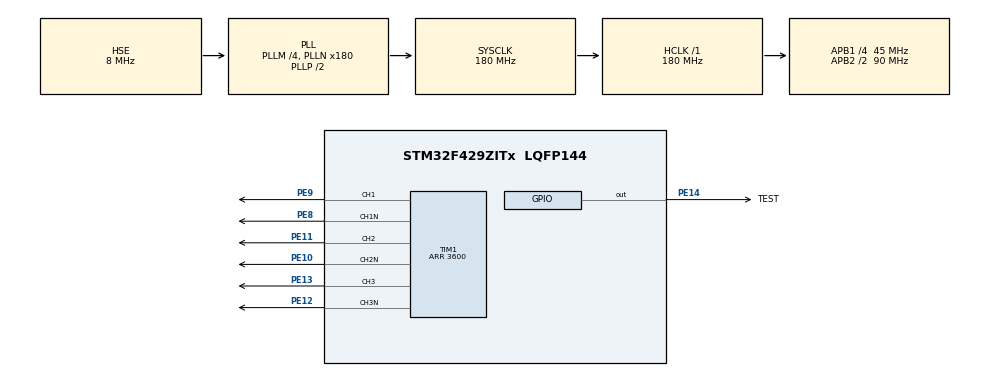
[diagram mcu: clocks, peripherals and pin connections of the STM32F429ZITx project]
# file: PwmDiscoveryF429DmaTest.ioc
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Dma.Request0=TIM1_UP
Dma.TIM1_UP.0.Direction=DMA_MEMORY_TO_PERIPH
Dma.TIM1_UP.0.FIFOMode=DMA_FIFOMODE_DISABLE
Dma.TIM1_UP.0.Instance=DMA2_Stream5
Dma.TIM1_UP.0.MemDataAlignment=DMA_MDATAALIGN_HALFWORD
Dma.TIM1_UP.0.MemInc=DMA_MINC_ENABLE
Dma.TIM1_UP.0.Mode=DMA_CIRCULAR
Dma.TIM1_UP.0.PeriphDataAlignment=DMA_PDATAALIGN_HALFWORD
Dma.TIM1_UP.0.PeriphInc=DMA_PINC_DISABLE
Dma.TIM1_UP.0.Priority=DMA_PRIORITY_LOW
Mcu.Family=STM32F4
Mcu.Name=STM32F429ZITx
Mcu.Package=LQFP144
NVIC.DMA2_Stream5_IRQn=true\:0\:0\:false\:false\:true\:false
NVIC.PriorityGroup=NVIC_PRIORITYGROUP_4
NVIC.TIM1_UP_TIM10_IRQn=true\:0\:0\:false\:false\:true\:true
PA13.Mode=Trace_Asynchronous_SW
PA13.Signal=SYS_JTMS-SWDIO
PA14.Mode=Trace_Asynchronous_SW
PA14.Signal=SYS_JTCK-SWCLK
PB3.Mode=Trace_Asynchronous_SW
PB3.Signal=SYS_JTDO-SWO
PE10.Mode=PWM Generation2 CH2 CH2N
PE10.Signal=TIM1_CH2N
PE11.Signal=S_TIM1_CH2
PE12.Mode=PWM Generation3 CH3 CH3N
PE12.Signal=TIM1_CH3N
PE13.Signal=S_TIM1_CH3
PE14.GPIO_Label=TEST
PE14.Signal=GPIO_Output
PE8.Mode=PWM Generation1 CH1 CH1N
PE8.Signal=TIM1_CH1N
PE9.Signal=S_TIM1_CH1
PH0/OSC_IN.Mode=HSE-External-Oscillator
PH0/OSC_IN.Signal=RCC_OSC_IN
PH1/OSC_OUT.Mode=HSE-External-Oscillator
PH1/OSC_OUT.Signal=RCC_OSC_OUT
ProjectManager.HeapSize=0x200
ProjectManager.StackSize=0x400
ProjectManager.TargetToolchain=SW4STM32
RCC.48MHZClocksFreq_Value=90000000
RCC.AHBFreq_Value=180000000
RCC.APB1CLKDivider=RCC_HCLK_DIV4
RCC.APB1Freq_Value=45000000
RCC.APB1TimFreq_Value=90000000
RCC.APB2CLKDivider=RCC_HCLK_DIV2
RCC.APB2Freq_Value=90000000
RCC.APB2TimFreq_Value=180000000
RCC.CortexFreq_Value=180000000
RCC.EnbaleCSS=true
RCC.HCLKFreq_Value=180000000
RCC.HSE_VALUE=8000000
RCC.HSI_VALUE=16000000
RCC.LSE_VALUE=32768
RCC.PLLM=4
RCC.PLLN=180
RCC.PLLSourceVirtual=RCC_PLLSOURCE_HSE
RCC.SYSCLKFreq_VALUE=180000000
RCC.SYSCLKSource=RCC_SYSCLKSOURCE_PLLCLK
RCC.VCOOutputFreq_Value=360000000
SH.S_TIM1_CH1.0=TIM1_CH1,PWM Generation1 CH1 CH1N
SH.S_TIM1_CH2.0=TIM1_CH2,PWM Generation2 CH2 CH2N
SH.S_TIM1_CH3.0=TIM1_CH3,PWM Generation3 CH3 CH3N
TIM1.Channel-PWM\ Generation1\ CH1\ CH1N=TIM_CHANNEL_1
TIM1.Channel-PWM\ Generation2\ CH2\ CH2N=TIM_CHANNEL_2
TIM1.Channel-PWM\ Generation3\ CH3\ CH3N=TIM_CHANNEL_3
TIM1.CounterMode=TIM_COUNTERMODE_CENTERALIGNED3
TIM1.DeadTime=100
TIM1.OCFastMode_PWM-PWM\ Generation1\ CH1\ CH1N=TIM_OCFAST_DISABLE
TIM1.OCFastMode_PWM-PWM\ Generation2\ CH2\ CH2N=TIM_OCFAST_DISABLE
TIM1.OCFastMode_PWM-PWM\ Generation3\ CH3\ CH3N=TIM_OCFAST_DISABLE
TIM1.OCMode_PWM-PWM\ Generation1\ CH1\ CH1N=TIM_OCMODE_PWM2
TIM1.OCMode_PWM-PWM\ Generation2\ CH2\ CH2N=TIM_OCMODE_PWM2
TIM1.OCMode_PWM-PWM\ Generation3\ CH3\ CH3N=TIM_OCMODE_PWM2
TIM1.Period=3600
TIM1.Pulse-PWM\ Generation1\ CH1\ CH1N=250
TIM1.Pulse-PWM\ Generation2\ CH2\ CH2N=500
TIM1.Pulse-PWM\ Generation3\ CH3\ CH3N=750
TIM1.TIM_MasterOutputTrigger=TIM_TRGO_UPDATE
TIM2.Period=1
TIM2.Prescaler=45
TIM2.TIM_MasterOutputTrigger=TIM_TRGO_UPDATE
TIM2.TIM_MasterSlaveMode=TIM_MASTERSLAVEMODE_ENABLE
VP_TIM1_VS_ClockSourceITR.Mode=TriggerSource_ITR1
VP_TIM1_VS_ControllerModeClock.Mode=Clock Mode
VP_TIM2_VS_ClockSourceINT.Mode=Internal
board=custom

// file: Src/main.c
/**
  ******************************************************************************
  * @file           : main.c
  * @brief          : Main program body
  ******************************************************************************
  ** This notice applies to any and all portions of this file
  * that are not between comment pairs USER CODE BEGIN and
  * USER CODE END. Other portions of this file, whether
  * inserted by the user or by software development tools
  * are owned by their respective copyright owners.
  *
  * COPYRIGHT(c) 2018 STMicroelectronics
  *
  * Redistribution and use in source and binary forms, with or without modification,
  * are permitted provided that the following conditions are met:
  *   1. Redistributions of source code must retain the above copyright notice,
  *      this list of conditions and the following disclaimer.
  *   2. Redistributions in binary form must reproduce the above copyright notice,
  *      this list of conditions and the following disclaimer in the documentation
  *      and/or other materials provided with the distribution.
  *   3. Neither the name of STMicroelectronics nor the names of its contributors
  *      may be used to endorse or promote products derived from this software
  *      without specific prior written permission.
  *
  * THIS SOFTWARE IS PROVIDED BY THE COPYRIGHT HOLDERS AND CONTRIBUTORS "AS IS"
  * AND ANY EXPRESS OR IMPLIED WARRANTIES, INCLUDING, BUT NOT LIMITED TO, THE
  * IMPLIED WARRANTIES OF MERCHANTABILITY AND FITNESS FOR A PARTICULAR PURPOSE ARE
  * DISCLAIMED. IN NO EVENT SHALL THE COPYRIGHT HOLDER OR CONTRIBUTORS BE LIABLE
  * FOR ANY DIRECT, INDIRECT, INCIDENTAL, SPECIAL, EXEMPLARY, OR CONSEQUENTIAL
  * DAMAGES (INCLUDING, BUT NOT LIMITED TO, PROCUREMENT OF SUBSTITUTE GOODS OR
  * SERVICES; LOSS OF USE, DATA, OR PROFITS; OR BUSINESS INTERRUPTION) HOWEVER
  * CAUSED AND ON ANY THEORY OF LIABILITY, WHETHER IN CONTRACT, STRICT LIABILITY,
  * OR TORT (INCLUDING NEGLIGENCE OR OTHERWISE) ARISING IN ANY WAY OUT OF THE USE
  * OF THIS SOFTWARE, EVEN IF ADVISED OF THE POSSIBILITY OF SUCH DAMAGE.
  *
  ******************************************************************************
  */
#include "main.h"
#include "stm32f4xx_hal.h"

TIM_HandleTypeDef htim1;
TIM_HandleTypeDef htim2;
DMA_HandleTypeDef hdma_tim1_up;

/* USER CODE BEGIN PV */
/* Private variables ---------------------------------------------------------*/
uint16_t SPWM[56];
uint16_t spwmPointer[3];
/* USER CODE END PV */

void SystemClock_Config(void);
static void MX_GPIO_Init(void);
static void MX_DMA_Init(void);
static void MX_TIM1_Init(void);
static void MX_TIM2_Init(void);
void HAL_TIM_MspPostInit(TIM_HandleTypeDef *htim);

/* USER CODE BEGIN PFP */
/* Private function prototypes -----------------------------------------------*/
void init_pwm_table(void);

/* USER CODE END PFP */

int main(void)
{

  /* MCU Configuration----------------------------------------------------------*/

  /* Reset of all peripherals, Initializes the Flash interface and the Systick. */
  HAL_Init();

  /* Configure the system clock */
  SystemClock_Config();

  /* Initialize all configured peripherals */
  MX_GPIO_Init();
  MX_DMA_Init();
  MX_TIM1_Init();
  MX_TIM2_Init();
  /* USER CODE BEGIN 2 */

  HAL_TIM_Base_Start(&htim2);
  HAL_TIM_PWM_Start(&htim1,TIM_CHANNEL_1);
  HAL_TIM_PWM_Start(&htim1,TIM_CHANNEL_2);
  HAL_TIM_PWM_Start(&htim1,TIM_CHANNEL_3);
  HAL_TIMEx_PWMN_Start(&htim1,TIM_CHANNEL_1);
  HAL_TIMEx_PWMN_Start(&htim1,TIM_CHANNEL_2);
  HAL_TIMEx_PWMN_Start(&htim1,TIM_CHANNEL_3);

  init_pwm_table();
  HAL_TIM_DMABurst_WriteStart(&htim1,TIM_DMABASE_CCR1,TIM_DMA_UPDATE,(uint32_t*)spwmPointer,TIM_DMABURSTLENGTH_3TRANSFERS);
  /* USER CODE END 2 */

  /* Infinite loop */
  while (1)
  {

  }

}

void SystemClock_Config(void)
{

  RCC_OscInitTypeDef RCC_OscInitStruct;
  RCC_ClkInitTypeDef RCC_ClkInitStruct;

    /**Configure the main internal regulator output voltage
    */
  __HAL_RCC_PWR_CLK_ENABLE();

  __HAL_PWR_VOLTAGESCALING_CONFIG(PWR_REGULATOR_VOLTAGE_SCALE1);

    /**Initializes the CPU, AHB and APB busses clocks
    */
  RCC_OscInitStruct.OscillatorType = RCC_OSCILLATORTYPE_HSE;
  RCC_OscInitStruct.HSEState = RCC_HSE_ON;
  RCC_OscInitStruct.PLL.PLLState = RCC_PLL_ON;
  RCC_OscInitStruct.PLL.PLLSource = RCC_PLLSOURCE_HSE;
  RCC_OscInitStruct.PLL.PLLM = 4;
  RCC_OscInitStruct.PLL.PLLN = 180;
  RCC_OscInitStruct.PLL.PLLP = RCC_PLLP_DIV2;
  RCC_OscInitStruct.PLL.PLLQ = 4;
  if (HAL_RCC_OscConfig(&RCC_OscInitStruct) != HAL_OK)
  {
    _Error_Handler(__FILE__, __LINE__);
  }

    /**Activate the Over-Drive mode
    */
  if (HAL_PWREx_EnableOverDrive() != HAL_OK)
  {
    _Error_Handler(__FILE__, __LINE__);
  }

    /**Initializes the CPU, AHB and APB busses clocks
    */
  RCC_ClkInitStruct.ClockType = RCC_CLOCKTYPE_HCLK|RCC_CLOCKTYPE_SYSCLK
                              |RCC_CLOCKTYPE_PCLK1|RCC_CLOCKTYPE_PCLK2;
  RCC_ClkInitStruct.SYSCLKSource = RCC_SYSCLKSOURCE_PLLCLK;
  RCC_ClkInitStruct.AHBCLKDivider = RCC_SYSCLK_DIV1;
  RCC_ClkInitStruct.APB1CLKDivider = RCC_HCLK_DIV4;
  RCC_ClkInitStruct.APB2CLKDivider = RCC_HCLK_DIV2;

  if (HAL_RCC_ClockConfig(&RCC_ClkInitStruct, FLASH_LATENCY_5) != HAL_OK)
  {
    _Error_Handler(__FILE__, __LINE__);
  }

    /**Enables the Clock Security System
    */
  HAL_RCC_EnableCSS();

    /**Configure the Systick interrupt time
    */
  HAL_SYSTICK_Config(HAL_RCC_GetHCLKFreq()/1000);

    /**Configure the Systick
    */
  HAL_SYSTICK_CLKSourceConfig(SYSTICK_CLKSOURCE_HCLK);

  /* SysTick_IRQn interrupt configuration */
  HAL_NVIC_SetPriority(SysTick_IRQn, 0, 0);
}

/* TIM1 init function */
static void MX_TIM1_Init(void)
{

  TIM_SlaveConfigTypeDef sSlaveConfig;
  TIM_MasterConfigTypeDef sMasterConfig;
  TIM_OC_InitTypeDef sConfigOC;
  TIM_BreakDeadTimeConfigTypeDef sBreakDeadTimeConfig;

  htim1.Instance = TIM1;
  htim1.Init.Prescaler = 0;
  htim1.Init.CounterMode = TIM_COUNTERMODE_CENTERALIGNED3;
  htim1.Init.Period = 3600;
  htim1.Init.ClockDivision = TIM_CLOCKDIVISION_DIV1;
  htim1.Init.RepetitionCounter = 0;
  if (HAL_TIM_Base_Init(&htim1) != HAL_OK)
  {
    _Error_Handler(__FILE__, __LINE__);
  }

  if (HAL_TIM_PWM_Init(&htim1) != HAL_OK)
  {
    _Error_Handler(__FILE__, __LINE__);
  }

  sSlaveConfig.SlaveMode = TIM_SLAVEMODE_EXTERNAL1;
  sSlaveConfig.InputTrigger = TIM_TS_ITR1;
  if (HAL_TIM_SlaveConfigSynchronization(&htim1, &sSlaveConfig) != HAL_OK)
  {
    _Error_Handler(__FILE__, __LINE__);
  }

  sMasterConfig.MasterOutputTrigger = TIM_TRGO_UPDATE;
  sMasterConfig.MasterSlaveMode = TIM_MASTERSLAVEMODE_DISABLE;
  if (HAL_TIMEx_MasterConfigSynchronization(&htim1, &sMasterConfig) != HAL_OK)
  {
    _Error_Handler(__FILE__, __LINE__);
  }

  sConfigOC.OCMode = TIM_OCMODE_PWM2;
  sConfigOC.Pulse = 250;
  sConfigOC.OCPolarity = TIM_OCPOLARITY_HIGH;
  sConfigOC.OCNPolarity = TIM_OCNPOLARITY_HIGH;
  sConfigOC.OCFastMode = TIM_OCFAST_DISABLE;
  sConfigOC.OCIdleState = TIM_OCIDLESTATE_RESET;
  sConfigOC.OCNIdleState = TIM_OCNIDLESTATE_RESET;
  if (HAL_TIM_PWM_ConfigChannel(&htim1, &sConfigOC, TIM_CHANNEL_1) != HAL_OK)
  {
    _Error_Handler(__FILE__, __LINE__);
  }

  sConfigOC.Pulse = 500;
  if (HAL_TIM_PWM_ConfigChannel(&htim1, &sConfigOC, TIM_CHANNEL_2) != HAL_OK)
  {
    _Error_Handler(__FILE__, __LINE__);
  }

  sConfigOC.Pulse = 750;
  if (HAL_TIM_PWM_ConfigChannel(&htim1, &sConfigOC, TIM_CHANNEL_3) != HAL_OK)
  {
    _Error_Handler(__FILE__, __LINE__);
  }

  sBreakDeadTimeConfig.OffStateRunMode = TIM_OSSR_DISABLE;
  sBreakDeadTimeConfig.OffStateIDLEMode = TIM_OSSI_DISABLE;
  sBreakDeadTimeConfig.LockLevel = TIM_LOCKLEVEL_OFF;
  sBreakDeadTimeConfig.DeadTime = 100;
  sBreakDeadTimeConfig.BreakState = TIM_BREAK_DISABLE;
  sBreakDeadTimeConfig.BreakPolarity = TIM_BREAKPOLARITY_HIGH;
  sBreakDeadTimeConfig.AutomaticOutput = TIM_AUTOMATICOUTPUT_DISABLE;
  if (HAL_TIMEx_ConfigBreakDeadTime(&htim1, &sBreakDeadTimeConfig) != HAL_OK)
  {
    _Error_Handler(__FILE__, __LINE__);
  }

  HAL_TIM_MspPostInit(&htim1);

}

/* TIM2 init function */
static void MX_TIM2_Init(void)
{

  TIM_ClockConfigTypeDef sClockSourceConfig;
  TIM_MasterConfigTypeDef sMasterConfig;

  htim2.Instance = TIM2;
  htim2.Init.Prescaler = 45;
  htim2.Init.CounterMode = TIM_COUNTERMODE_UP;
  htim2.Init.Period = 1;
  htim2.Init.ClockDivision = TIM_CLOCKDIVISION_DIV1;
  if (HAL_TIM_Base_Init(&htim2) != HAL_OK)
  {
    _Error_Handler(__FILE__, __LINE__);
  }

  sClockSourceConfig.ClockSource = TIM_CLOCKSOURCE_INTERNAL;
  if (HAL_TIM_ConfigClockSource(&htim2, &sClockSourceConfig) != HAL_OK)
  {
    _Error_Handler(__FILE__, __LINE__);
  }

  sMasterConfig.MasterOutputTrigger = TIM_TRGO_UPDATE;
  sMasterConfig.MasterSlaveMode = TIM_MASTERSLAVEMODE_ENABLE;
  if (HAL_TIMEx_MasterConfigSynchronization(&htim2, &sMasterConfig) != HAL_OK)
  {
    _Error_Handler(__FILE__, __LINE__);
  }

}

static void MX_DMA_Init(void)
{
  /* DMA controller clock enable */
  __HAL_RCC_DMA2_CLK_ENABLE();

  /* DMA interrupt init */
  /* DMA2_Stream5_IRQn interrupt configuration */
  HAL_NVIC_SetPriority(DMA2_Stream5_IRQn, 0, 0);
  HAL_NVIC_EnableIRQ(DMA2_Stream5_IRQn);

}

/** Configure pins as
        * Analog
        * Input
        * Output
        * EVENT_OUT
        * EXTI
*/
static void MX_GPIO_Init(void)
{

  GPIO_InitTypeDef GPIO_InitStruct;

  /* GPIO Ports Clock Enable */
  __HAL_RCC_GPIOH_CLK_ENABLE();
  __HAL_RCC_GPIOE_CLK_ENABLE();
  __HAL_RCC_GPIOA_CLK_ENABLE();
  __HAL_RCC_GPIOB_CLK_ENABLE();

  /*Configure GPIO pin Output Level */
  HAL_GPIO_WritePin(TEST_GPIO_Port, TEST_Pin, GPIO_PIN_RESET);

  /*Configure GPIO pin : TEST_Pin */
  GPIO_InitStruct.Pin = TEST_Pin;
  GPIO_InitStruct.Mode = GPIO_MODE_OUTPUT_PP;
  GPIO_InitStruct.Pull = GPIO_NOPULL;
  GPIO_InitStruct.Speed = GPIO_SPEED_FREQ_LOW;
  HAL_GPIO_Init(TEST_GPIO_Port, &GPIO_InitStruct);

}

/* USER CODE BEGIN 4 */
void init_pwm_table(void)
{
	SPWM[0] = 1600;		SPWM[1] = 1600;		SPWM[2] = 1600;
	SPWM[3] = 2070;		SPWM[4] = 947;		SPWM[5] = 2070;
	SPWM[6] = 2777;		SPWM[7] = 697;		SPWM[8] = 2777;
	SPWM[9] = 2863;		SPWM[10] = 103;		SPWM[11] = 2863;
	SPWM[12] = 3200;	SPWM[13] = 91;		SPWM[14] = 3200;
	SPWM[15] = 3200;	SPWM[16] = 91;		SPWM[17] = 3200;
	SPWM[18] = 2863;	SPWM[19] = 103;		SPWM[20] = 2863;
	SPWM[21] = 2777;	SPWM[22] = 697;		SPWM[23] = 2777;
	SPWM[24] = 2070;	SPWM[25] = 947;		SPWM[26] = 2070;
	SPWM[27] = 1600;	SPWM[28] = 1600;	SPWM[29] = 1600;
	SPWM[30] = 1130;	SPWM[31] = 2253;	SPWM[32] = 1130;
	SPWM[33] = 423;		SPWM[34] = 2503;	SPWM[35] = 423;
	SPWM[36] = 337;		SPWM[37] = 3097;	SPWM[38] = 337;
	SPWM[39] = 0;		SPWM[40] = 3109;	SPWM[41] = 0;
	SPWM[42] = 0;		SPWM[43] = 3109;	SPWM[44] = 0;
	SPWM[45] = 337;		SPWM[46] = 3097;	SPWM[47] = 337;
	SPWM[48] = 423;		SPWM[49] = 2503;	SPWM[50] = 423;
	SPWM[51] = 1130;	SPWM[52] = 2253;	SPWM[53] = 1130;
}
/* USER CODE END 4 */

void _Error_Handler(char *file, int line)
{
  while(1)
  {
  }
}

/************************ (C) COPYRIGHT STMicroelectronics *****END OF FILE****/
